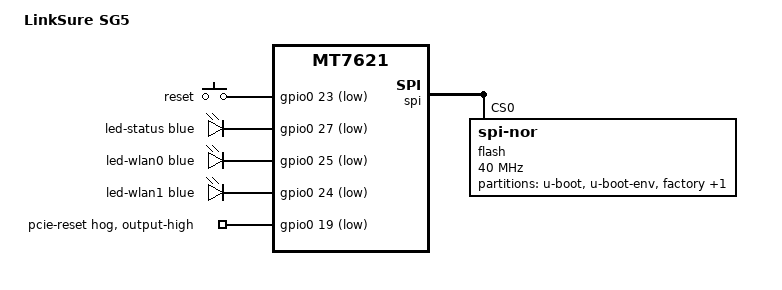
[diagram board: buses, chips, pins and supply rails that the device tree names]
// SPDX-License-Identifier: GPL-2.0-or-later

/dts-v1/;

#include "mt7621.dtsi"

#include <dt-bindings/gpio/gpio.h>
#include <dt-bindings/input/input.h>
#include <dt-bindings/leds/common.h>

/ {
	compatible = "linksure,sg5", "mediatek,mt7621-soc";
	model = "LinkSure SG5";

	/delete-node/ clock-48m;
	/delete-node/ clock-50m;
	/delete-node/ watchdog@1e000100;
	/delete-node/ serial@1e000d00;
	/delete-node/ serial@1e000e00;
	/delete-node/ mmc@1e130000;
	/delete-node/ usb@1e1c0000;
	/delete-node/ usb-phy@1e1d0000;

	aliases {
		serial0 = &uart0;
		spi0 = &spi;
	};

	chosen {
		stdout-path = "serial0:115200n8";
	};

	gpio-keys {
		compatible = "gpio-keys";

		button-reset {
			label = "reset";
			linux,code = <KEY_RESTART>;
			gpios = <&gpio0 23 GPIO_ACTIVE_LOW>;
		};
	};

	gpio-leds {
		compatible = "gpio-leds";

		led-status {
			color = <LED_COLOR_ID_BLUE>;
			function = LED_FUNCTION_STATUS;
			gpios = <&gpio0 27 GPIO_ACTIVE_LOW>;
			default-state = "on";
		};

		led-wlan0 {
			color = <LED_COLOR_ID_BLUE>;
			function = LED_FUNCTION_WLAN;
			function-enumerator = <0>;
			gpios = <&gpio0 25 GPIO_ACTIVE_LOW>;
			default-state = "off";
		};

		led-wlan1 {
			color = <LED_COLOR_ID_BLUE>;
			function = LED_FUNCTION_WLAN;
			function-enumerator = <1>;
			gpios = <&gpio0 24 GPIO_ACTIVE_LOW>;
			default-state = "off";
		};
	};

	options {
		u-boot {
			compatible = "u-boot,config";
			boot-btn1 = "reset";
			boot-led1 = "blue:status";
			bootcmd_1-1 = "tftp_boot_ik";
			bootcmd_1-2 = "tftp_update_fw";
			bootcmd_1-3 = "switch_console";
			bootcmd_1-4 = "env init";
		};
	};
};

&eth_pins {
	/delete-node/ rgmii2_pins;
};

&gpio0 {
	pcie-reset {
		gpio-hog;
		gpios = <19 GPIO_ACTIVE_LOW>;
		output-high;
	};
};

&pinctrl {
	/delete-node/ uart2_pins;
	/delete-node/ uart3_pins;
	/delete-node/ sdxc_pins;
	/delete-node/ nand_pins;
};

&spi {
	status = "okay";

	flash@0 {
		compatible = "jedec,spi-nor";
		reg = <0>;
		spi-max-frequency = <40000000>;

		partitions {
			compatible = "fixed-partitions";
			#address-cells = <1>;
			#size-cells = <1>;

			partition@0 {
				label = "u-boot";
				reg = <0x00000 0x30000>;
			};

			partition@30000 {
				label = "u-boot-env";
				reg = <0x30000 0x10000>;
			};

			partition@40000 {
				label = "factory";
				reg = <0x40000 0x10000>;
			};

			partition@50000 {
				label = "firmware";
				reg = <0x50000 0x00000>;
			};
		};
	};
};
